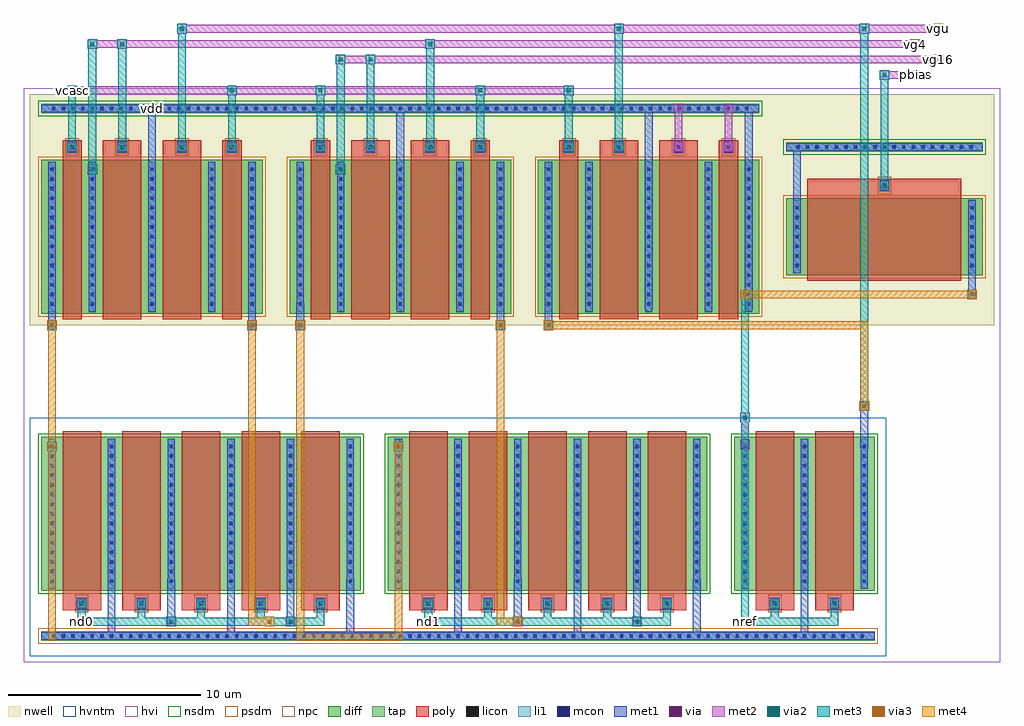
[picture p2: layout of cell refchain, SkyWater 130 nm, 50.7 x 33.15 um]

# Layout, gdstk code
import gdstk
lib = gdstk.Library(unit=1e-6, precision=1e-09)
def R(c, l, rs):  # rectangles x0, y0, x1, y1
    for r in rs: c.add(gdstk.rectangle(r[:2], r[2:], *l))
def A(c, l, x, y, w, h, nx, ny, dx, dy):  # array of equal rectangles
    R(c, l, [(x+i*dx, y+j*dy, x+i*dx+w, y+j*dy+h) for i in range(nx) for j in range(ny)])
nwell = (64, 20)
diff = (65, 20)
tap = (65, 44)
poly = (66, 20)
licon = (66, 44)
li1 = (67, 20)
mcon = (67, 44)
met1 = (68, 20)
via = (68, 44)
met2 = (69, 20)
via2 = (69, 44)
met3 = (70, 20)
via3 = (70, 44)
met4 = (71, 20)
hvi = (75, 20)
nsdm = (93, 44)
psdm = (94, 20)
npc = (95, 20)
hvntm = (125, 20)

refchain = lib.new_cell('refchain')
R(refchain, nwell, [(0.4,2.4,50.5,14.4)])
A(refchain, diff, 1, 3, 11.5, 8, 3, 1, 12.9, 0)
R(refchain, diff, [(1,-11.4,17.6,-3.4), (19,-11.4,35.6,-3.4), (37,-11.4,44.3,-3.4), (39.7,5,49.9,9)])
R(refchain, tap, [(1,-14,44.3,-13.5), (39.7,11.4,49.9,11.9), (1,13.4,38.3,13.9)])
A(refchain, poly, 2.1, -12.4, 2, 0.7, 5, 1, 3.1, 0)
A(refchain, poly, 20.1, -12.4, 2, 0.7, 5, 1, 3.1, 0)
A(refchain, poly, 2.1, -11.7, 2, 8.6, 5, 1, 3.1, 0)
A(refchain, poly, 20.1, -11.7, 2, 8.6, 5, 1, 3.1, 0)
R(refchain, poly, [(38.1,-12.4,40.1,-11.7), (41.2,-12.4,43.2,-11.7), (38.1,-11.7,40.1,-3.1), (41.2,-11.7,43.2,-3.1), (2.1,2.7,3.1,12), (4.2,2.7,6.2,12), (7.3,2.7,9.3,12), (10.4,2.7,11.4,12), (15,2.7,16,12), (17.1,2.7,19.1,12), (20.2,2.7,22.2,12), (23.3,2.7,24.3,12), (27.9,2.7,28.9,12), (30,2.7,32,12), (33.1,2.7,35.1,12), (36.2,2.7,37.2,12), (40.8,4.7,48.8,10)])
A(refchain, licon, 1.565, -13.835, 0.17, 0.17, 85, 1, 0.5, 0)
A(refchain, licon, 3.015, -12.135, 0.17, 0.17, 5, 1, 3.1, 0)
A(refchain, licon, 21.015, -12.135, 0.17, 0.17, 5, 1, 3.1, 0)
A(refchain, licon, 1.465, -10.985, 0.17, 0.17, 6, 15, 3.1, 0.5)
A(refchain, licon, 19.465, -10.985, 0.17, 0.17, 6, 15, 3.1, 0.5)
A(refchain, licon, 37.465, -10.985, 0.17, 0.17, 3, 15, 3.1, 0.5)
A(refchain, licon, 1.465, 3.415, 0.17, 0.17, 1, 15, 0, 0.5)
A(refchain, licon, 3.565, 3.415, 0.17, 0.17, 3, 15, 3.1, 0.5)
A(refchain, licon, 11.865, 3.415, 0.17, 0.17, 1, 15, 0, 0.5)
A(refchain, licon, 14.365, 3.415, 0.17, 0.17, 1, 15, 0, 0.5)
A(refchain, licon, 16.465, 3.415, 0.17, 0.17, 3, 15, 3.1, 0.5)
A(refchain, licon, 24.765, 3.415, 0.17, 0.17, 1, 15, 0, 0.5)
A(refchain, licon, 27.265, 3.415, 0.17, 0.17, 1, 15, 0, 0.5)
A(refchain, licon, 29.365, 3.415, 0.17, 0.17, 3, 15, 3.1, 0.5)
A(refchain, licon, 37.665, 3.415, 0.17, 0.17, 1, 15, 0, 0.5)
A(refchain, licon, 40.165, 5.415, 0.17, 0.17, 1, 7, 0, 0.5)
A(refchain, licon, 49.265, 5.415, 0.17, 0.17, 1, 7, 0, 0.5)
A(refchain, licon, 40.215, 11.565, 0.17, 0.17, 19, 1, 0.5, 0)
A(refchain, licon, 1.565, 13.565, 0.17, 0.17, 73, 1, 0.5, 0)
R(refchain, licon, [(39.015,-12.135,39.185,-11.965), (42.115,-12.135,42.285,-11.965), (44.715,9.565,44.885,9.735), (2.515,11.565,2.685,11.735), (5.115,11.565,5.285,11.735), (8.215,11.565,8.385,11.735), (10.815,11.565,10.985,11.735), (15.415,11.565,15.585,11.735), (18.015,11.565,18.185,11.735), (21.115,11.565,21.285,11.735), (23.715,11.565,23.885,11.735), (28.315,11.565,28.485,11.735), (30.915,11.565,31.085,11.735), (34.015,11.565,34.185,11.735), (36.615,11.565,36.785,11.735)])
A(refchain, li1, 2.85, -12.35, 0.5, 0.6, 5, 1, 3.1, 0)
A(refchain, li1, 20.85, -12.35, 0.5, 0.6, 5, 1, 3.1, 0)
A(refchain, li1, 1.36, -11.3, 0.38, 7.8, 6, 1, 3.1, 0)
A(refchain, li1, 19.36, -11.3, 0.38, 7.8, 6, 1, 3.1, 0)
A(refchain, li1, 37.36, -11.3, 0.38, 7.8, 3, 1, 3.1, 0)
A(refchain, li1, 3.46, 3.1, 0.38, 7.8, 3, 1, 3.1, 0)
A(refchain, li1, 16.36, 3.1, 0.38, 7.8, 3, 1, 3.1, 0)
A(refchain, li1, 29.26, 3.1, 0.38, 7.8, 3, 1, 3.1, 0)
R(refchain, li1, [(1,-13.95,44.3,-13.55), (38.85,-12.35,39.35,-11.75), (41.95,-12.35,42.45,-11.75), (1.36,3.1,1.74,10.9), (11.76,3.1,12.14,10.9), (14.26,3.1,14.64,10.9), (24.66,3.1,25.04,10.9), (27.16,3.1,27.54,10.9), (37.56,3.1,37.94,10.9), (40.06,5.1,40.44,8.9), (49.16,5.1,49.54,8.9), (44.55,9.35,45.05,9.95), (2.35,11.35,2.85,11.95), (4.95,11.35,5.45,11.95), (8.05,11.35,8.55,11.95), (10.65,11.35,11.15,11.95), (15.25,11.35,15.75,11.95), (17.85,11.35,18.35,11.95), (20.95,11.35,21.45,11.95), (23.55,11.35,24.05,11.95), (28.15,11.35,28.65,11.95), (30.75,11.35,31.25,11.95), (33.85,11.35,34.35,11.95), (36.45,11.35,36.95,11.95), (39.7,11.45,49.9,11.85), (1,13.45,38.3,13.85)])
A(refchain, mcon, 1.565, -13.835, 0.17, 0.17, 85, 1, 0.5, 0)
A(refchain, mcon, 3.015, -12.135, 0.17, 0.17, 5, 1, 3.1, 0)
A(refchain, mcon, 21.015, -12.135, 0.17, 0.17, 5, 1, 3.1, 0)
A(refchain, mcon, 1.465, -10.985, 0.17, 0.17, 6, 15, 3.1, 0.5)
A(refchain, mcon, 19.465, -10.985, 0.17, 0.17, 6, 15, 3.1, 0.5)
A(refchain, mcon, 37.465, -10.985, 0.17, 0.17, 3, 15, 3.1, 0.5)
A(refchain, mcon, 1.465, 3.415, 0.17, 0.17, 1, 15, 0, 0.5)
A(refchain, mcon, 3.565, 3.415, 0.17, 0.17, 3, 15, 3.1, 0.5)
A(refchain, mcon, 11.865, 3.415, 0.17, 0.17, 1, 15, 0, 0.5)
A(refchain, mcon, 14.365, 3.415, 0.17, 0.17, 1, 15, 0, 0.5)
A(refchain, mcon, 16.465, 3.415, 0.17, 0.17, 3, 15, 3.1, 0.5)
A(refchain, mcon, 24.765, 3.415, 0.17, 0.17, 1, 15, 0, 0.5)
A(refchain, mcon, 27.265, 3.415, 0.17, 0.17, 1, 15, 0, 0.5)
A(refchain, mcon, 29.365, 3.415, 0.17, 0.17, 3, 15, 3.1, 0.5)
A(refchain, mcon, 37.665, 3.415, 0.17, 0.17, 1, 15, 0, 0.5)
A(refchain, mcon, 40.165, 5.415, 0.17, 0.17, 1, 7, 0, 0.5)
A(refchain, mcon, 49.265, 5.415, 0.17, 0.17, 1, 7, 0, 0.5)
A(refchain, mcon, 40.215, 11.565, 0.17, 0.17, 19, 1, 0.5, 0)
A(refchain, mcon, 1.565, 13.565, 0.17, 0.17, 73, 1, 0.5, 0)
R(refchain, mcon, [(39.015,-12.135,39.185,-11.965), (42.115,-12.135,42.285,-11.965), (44.715,9.565,44.885,9.735), (2.515,11.565,2.685,11.735), (5.115,11.565,5.285,11.735), (8.215,11.565,8.385,11.735), (10.815,11.565,10.985,11.735), (15.415,11.565,15.585,11.735), (18.015,11.565,18.185,11.735), (21.115,11.565,21.285,11.735), (23.715,11.565,23.885,11.735), (28.315,11.565,28.485,11.735), (30.915,11.565,31.085,11.735), (34.015,11.565,34.185,11.735), (36.615,11.565,36.785,11.735)])
A(refchain, met1, 4.45, -13.95, 0.4, 3.15, 3, 1, 6.2, 0)
A(refchain, met1, 22.45, -13.95, 0.4, 3.15, 3, 1, 6.2, 0)
A(refchain, met1, 2.85, -12.35, 0.5, 0.6, 5, 1, 3.1, 0)
A(refchain, met1, 20.85, -12.35, 0.5, 0.6, 5, 1, 3.1, 0)
A(refchain, met1, 2.91, -12.24, 0.38, 0.38, 5, 1, 3.1, 0)
A(refchain, met1, 20.91, -12.24, 0.38, 0.38, 5, 1, 3.1, 0)
A(refchain, met1, 1.36, -11.3, 0.38, 7.8, 6, 1, 3.1, 0)
A(refchain, met1, 19.36, -11.3, 0.38, 7.8, 6, 1, 3.1, 0)
A(refchain, met1, 37.36, -11.3, 0.38, 7.8, 3, 1, 3.1, 0)
A(refchain, met1, 3.46, 3.1, 0.38, 7.8, 3, 1, 3.1, 0)
A(refchain, met1, 16.36, 3.1, 0.38, 7.8, 3, 1, 3.1, 0)
A(refchain, met1, 29.26, 3.1, 0.38, 7.8, 3, 1, 3.1, 0)
A(refchain, met1, 6.55, 3.2, 0.4, 10.4, 3, 1, 12.9, 0)
R(refchain, met1, [(1,-13.95,44.3,-13.55), (40.45,-13.95,40.85,-10.8), (7.55,-13.2,7.95,-10.8), (13.75,-13.2,14.15,-10.8), (25.55,-13.2,25.95,-10.8), (31.75,-13.2,32.15,-10.8), (7.56,-13.19,7.94,-12.81), (13.76,-13.19,14.14,-12.81), (25.56,-13.19,25.94,-12.81), (31.76,-13.19,32.14,-12.81), (38.85,-12.35,39.35,-11.75), (41.95,-12.35,42.45,-11.75), (38.91,-12.24,39.29,-11.86), (42.01,-12.24,42.39,-11.86), (1.36,-4.09,1.74,-3.71), (19.36,-4.09,19.74,-3.71), (43.55,-4,43.95,-1.6), (37.36,-3.99,37.74,-3.61), (43.56,-1.99,43.94,-1.61), (1.35,2.2,1.75,3.6), (11.75,2.2,12.15,3.6), (14.25,2.2,14.65,3.6), (24.65,2.2,25.05,3.6), (27.15,2.2,27.55,3.6), (1.36,2.21,1.74,2.59), (11.76,2.21,12.14,2.59), (14.26,2.21,14.64,2.59), (24.66,2.21,25.04,2.59), (27.16,2.21,27.54,2.59), (1.36,3.1,1.74,10.9), (11.76,3.1,12.14,10.9), (14.26,3.1,14.64,10.9), (24.66,3.1,25.04,10.9), (27.16,3.1,27.54,10.9), (37.56,3.1,37.94,10.9), (37.55,3.2,37.95,13.6), (49.15,3.8,49.55,5.6), (49.16,3.81,49.54,4.19), (40.06,5.1,40.44,8.9), (49.16,5.1,49.54,8.9), (40.05,5.2,40.45,11.85), (44.55,9.35,45.05,9.95), (44.61,9.46,44.99,9.84), (3.46,10.31,3.84,10.69), (16.36,10.31,16.74,10.69), (2.35,11.35,2.85,11.95), (4.95,11.35,5.45,11.95), (8.05,11.35,8.55,11.95), (10.65,11.35,11.15,11.95), (15.25,11.35,15.75,11.95), (17.85,11.35,18.35,11.95), (20.95,11.35,21.45,11.95), (23.55,11.35,24.05,11.95), (28.15,11.35,28.65,11.95), (30.75,11.35,31.25,11.95), (33.85,11.35,34.35,11.95), (36.45,11.35,36.95,11.95), (39.7,11.45,49.9,11.85), (2.41,11.46,2.79,11.84), (5.01,11.46,5.39,11.84), (8.11,11.46,8.49,11.84), (10.71,11.46,11.09,11.84), (15.31,11.46,15.69,11.84), (17.91,11.46,18.29,11.84), (21.01,11.46,21.39,11.84), (23.61,11.46,23.99,11.84), (28.21,11.46,28.59,11.84), (30.81,11.46,31.19,11.84), (33.91,11.46,34.29,11.84), (36.51,11.46,36.89,11.84), (1,13.45,38.3,13.85), (33.91,13.46,34.29,13.84), (36.51,13.46,36.89,13.84)])
A(refchain, via, 3.025, -12.125, 0.15, 0.15, 5, 1, 3.1, 0)
A(refchain, via, 21.025, -12.125, 0.15, 0.15, 5, 1, 3.1, 0)
R(refchain, via, [(7.675,-13.075,7.825,-12.925), (13.875,-13.075,14.025,-12.925), (25.675,-13.075,25.825,-12.925), (31.875,-13.075,32.025,-12.925), (39.025,-12.125,39.175,-11.975), (42.125,-12.125,42.275,-11.975), (1.475,-3.975,1.625,-3.825), (19.475,-3.975,19.625,-3.825), (37.475,-3.875,37.625,-3.725), (43.675,-1.875,43.825,-1.725), (1.475,2.325,1.625,2.475), (11.875,2.325,12.025,2.475), (14.375,2.325,14.525,2.475), (24.775,2.325,24.925,2.475), (27.275,2.325,27.425,2.475), (49.275,3.925,49.425,4.075), (44.725,9.575,44.875,9.725), (3.575,10.425,3.725,10.575), (16.475,10.425,16.625,10.575), (2.525,11.575,2.675,11.725), (5.125,11.575,5.275,11.725), (8.225,11.575,8.375,11.725), (10.825,11.575,10.975,11.725), (15.425,11.575,15.575,11.725), (18.025,11.575,18.175,11.725), (21.125,11.575,21.275,11.725), (23.725,11.575,23.875,11.725), (28.325,11.575,28.475,11.725), (30.925,11.575,31.075,11.725), (34.025,11.575,34.175,11.725), (36.625,11.575,36.775,11.725), (34.025,13.575,34.175,13.725), (36.625,13.575,36.775,13.725)])
R(refchain, met2, [(7.5,-13.25,8,-12.75), (7.5,-13.25,8,-12.75), (13.7,-13.25,14.2,-12.75), (13.7,-13.25,14.2,-12.75), (25.5,-13.25,26,-12.75), (25.5,-13.25,26,-12.75), (31.7,-13.25,32.2,-12.75), (31.7,-13.25,32.2,-12.75), (2.85,-12.3,3.35,-11.8), (2.85,-12.3,3.35,-11.8), (5.95,-12.3,6.45,-11.8), (5.95,-12.3,6.45,-11.8), (9.05,-12.3,9.55,-11.8), (9.05,-12.3,9.55,-11.8), (12.15,-12.3,12.65,-11.8), (12.15,-12.3,12.65,-11.8), (15.25,-12.3,15.75,-11.8), (15.25,-12.3,15.75,-11.8), (20.85,-12.3,21.35,-11.8), (20.85,-12.3,21.35,-11.8), (23.95,-12.3,24.45,-11.8), (23.95,-12.3,24.45,-11.8), (27.05,-12.3,27.55,-11.8), (27.05,-12.3,27.55,-11.8), (30.15,-12.3,30.65,-11.8), (30.15,-12.3,30.65,-11.8), (33.25,-12.3,33.75,-11.8), (33.25,-12.3,33.75,-11.8), (38.85,-12.3,39.35,-11.8), (38.85,-12.3,39.35,-11.8), (41.95,-12.3,42.45,-11.8), (41.95,-12.3,42.45,-11.8), (1.3,-4.15,1.8,-3.65), (1.3,-4.15,1.8,-3.65), (19.3,-4.15,19.8,-3.65), (19.3,-4.15,19.8,-3.65), (37.3,-4.05,37.8,-3.55), (37.35,-4,37.75,-2.2), (37.3,-2.65,37.8,-2.15), (43.5,-2.05,44,-1.55), (43.5,-2.05,44,-1.55), (1.3,2.15,1.8,2.65), (1.3,2.15,1.8,2.65), (11.7,2.15,12.2,2.65), (11.7,2.15,12.2,2.65), (14.2,2.15,14.7,2.65), (14.2,2.15,14.7,2.65), (24.6,2.15,25.1,2.65), (24.6,2.15,25.1,2.65), (27.1,2.15,27.6,2.65), (27.1,2.15,27.6,2.65), (49.1,3.75,49.6,4.25), (49.1,3.75,49.6,4.25), (44.55,9.4,45.05,9.9), (44.55,9.4,45.05,9.9), (3.4,10.25,3.9,10.75), (3.4,10.25,3.9,10.75), (16.3,10.25,16.8,10.75), (16.3,10.25,16.8,10.75), (2.35,11.4,2.85,11.9), (2.35,11.4,2.85,11.9), (4.95,11.4,5.45,11.9), (4.95,11.4,5.45,11.9), (8.05,11.4,8.55,11.9), (8.05,11.4,8.55,11.9), (10.65,11.4,11.15,11.9), (10.65,11.4,11.15,11.9), (15.25,11.4,15.75,11.9), (15.25,11.4,15.75,11.9), (17.85,11.4,18.35,11.9), (17.85,11.4,18.35,11.9), (20.95,11.4,21.45,11.9), (20.95,11.4,21.45,11.9), (23.55,11.4,24.05,11.9), (23.55,11.4,24.05,11.9), (28.15,11.4,28.65,11.9), (28.15,11.4,28.65,11.9), (30.75,11.4,31.25,11.9), (30.75,11.4,31.25,11.9), (33.85,11.4,34.35,11.9), (36.45,11.4,36.95,11.9), (33.9,11.45,34.3,13.85), (36.5,11.45,36.9,13.85), (33.85,13.4,34.35,13.9), (36.45,13.4,36.95,13.9), (2.35,14.35,2.85,14.85), (10.65,14.35,11.15,14.85), (15.25,14.35,15.75,14.85), (23.55,14.35,24.05,14.85), (28.15,14.35,28.65,14.85), (2.4,14.4,28.6,14.8), (44.55,15.15,45.05,15.65), (46.15,15.15,46.65,15.65), (44.6,15.2,46.6,15.6), (16.3,15.95,16.8,16.45), (17.85,15.95,18.35,16.45), (47.35,15.95,47.85,16.45), (16.35,16,18.3,16.4), (17.9,16,47.8,16.4), (3.4,16.75,3.9,17.25), (4.95,16.75,5.45,17.25), (20.95,16.75,21.45,17.25), (46.15,16.75,46.65,17.25), (3.45,16.8,21.4,17.2), (5,16.8,46.6,17.2), (8.05,17.55,8.55,18.05), (30.75,17.55,31.25,18.05), (43.5,17.55,44,18.05), (47.35,17.55,47.85,18.05), (8.1,17.6,43.95,18), (8.1,17.6,47.8,18)])
A(refchain, via2, 3, -12.15, 0.2, 0.2, 5, 1, 3.1, 0)
A(refchain, via2, 21, -12.15, 0.2, 0.2, 5, 1, 3.1, 0)
R(refchain, via2, [(7.65,-13.1,7.85,-12.9), (13.85,-13.1,14.05,-12.9), (25.65,-13.1,25.85,-12.9), (31.85,-13.1,32.05,-12.9), (39,-12.15,39.2,-11.95), (42.1,-12.15,42.3,-11.95), (1.45,-4,1.65,-3.8), (19.45,-4,19.65,-3.8), (37.45,-2.5,37.65,-2.3), (43.65,-1.9,43.85,-1.7), (1.45,2.3,1.65,2.5), (11.85,2.3,12.05,2.5), (14.35,2.3,14.55,2.5), (24.75,2.3,24.95,2.5), (27.25,2.3,27.45,2.5), (49.25,3.9,49.45,4.1), (44.7,9.55,44.9,9.75), (3.55,10.4,3.75,10.6), (16.45,10.4,16.65,10.6), (2.5,11.55,2.7,11.75), (5.1,11.55,5.3,11.75), (8.2,11.55,8.4,11.75), (10.8,11.55,11,11.75), (15.4,11.55,15.6,11.75), (18,11.55,18.2,11.75), (21.1,11.55,21.3,11.75), (23.7,11.55,23.9,11.75), (28.3,11.55,28.5,11.75), (30.9,11.55,31.1,11.75), (2.5,14.5,2.7,14.7), (10.8,14.5,11,14.7), (15.4,14.5,15.6,14.7), (23.7,14.5,23.9,14.7), (28.3,14.5,28.5,14.7), (44.7,15.3,44.9,15.5), (46.3,15.3,46.5,15.5), (16.45,16.1,16.65,16.3), (18,16.1,18.2,16.3), (47.5,16.1,47.7,16.3), (3.55,16.9,3.75,17.1), (5.1,16.9,5.3,17.1), (21.1,16.9,21.3,17.1), (46.3,16.9,46.5,17.1), (8.2,17.7,8.4,17.9), (30.9,17.7,31.1,17.9), (43.65,17.7,43.85,17.9), (47.5,17.7,47.7,17.9)])
A(refchain, met3, 2.9, -13.2, 0.4, 1.35, 5, 1, 3.1, 0)
A(refchain, met3, 20.9, -13.2, 0.4, 1.35, 5, 1, 3.1, 0)
A(refchain, met3, 2.85, -12.3, 0.5, 0.5, 5, 1, 3.1, 0)
A(refchain, met3, 20.85, -12.3, 0.5, 0.5, 5, 1, 3.1, 0)
R(refchain, met3, [(7.5,-13.25,8,-12.75), (12.6,-13.25,13.1,-12.75), (13.7,-13.25,14.2,-12.75), (25.5,-13.25,26,-12.75), (25.5,-13.25,26,-12.75), (31.7,-13.25,32.2,-12.75), (2.9,-13.2,15.7,-12.8), (2.9,-13.2,15.7,-12.8), (20.9,-13.2,33.7,-12.8), (20.9,-13.2,33.7,-12.8), (37.35,-13.2,37.75,-2.2), (37.35,-13.2,42.4,-12.8), (38.9,-13.2,39.3,-11.85), (42,-13.2,42.4,-11.85), (38.85,-12.3,39.35,-11.8), (41.95,-12.3,42.45,-11.8), (1.3,-4.15,1.8,-3.65), (1.3,-4.15,1.8,-3.65), (19.3,-4.15,19.8,-3.65), (19.3,-4.15,19.8,-3.65), (37.3,-2.65,37.8,-2.15), (37.35,-2.6,37.75,4.2), (43.5,-2.05,44,-1.55), (43.5,-2.05,44,-1.55), (43.55,-2,43.95,18), (1.3,2.15,1.8,2.65), (1.3,2.15,1.8,2.65), (11.7,2.15,12.2,2.65), (11.7,2.15,12.2,2.65), (14.2,2.15,14.7,2.65), (14.2,2.15,14.7,2.65), (24.6,2.15,25.1,2.65), (24.6,2.15,25.1,2.65), (27.1,2.15,27.6,2.65), (27.1,2.15,27.6,2.65), (37.3,3.75,37.8,4.25), (49.1,3.75,49.6,4.25), (49.1,3.75,49.6,4.25), (44.55,9.4,45.05,9.9), (44.6,9.45,45,15.6), (3.4,10.25,3.9,10.75), (16.3,10.25,16.8,10.75), (3.45,10.3,3.85,17.2), (16.35,10.3,16.75,16.4), (2.35,11.4,2.85,11.9), (4.95,11.4,5.45,11.9), (8.05,11.4,8.55,11.9), (10.65,11.4,11.15,11.9), (15.25,11.4,15.75,11.9), (17.85,11.4,18.35,11.9), (20.95,11.4,21.45,11.9), (23.55,11.4,24.05,11.9), (28.15,11.4,28.65,11.9), (30.75,11.4,31.25,11.9), (2.4,11.45,2.8,14.8), (5,11.45,5.4,17.2), (8.1,11.45,8.5,18), (10.7,11.45,11.1,14.8), (15.3,11.45,15.7,14.8), (17.9,11.45,18.3,16.4), (21,11.45,21.4,17.2), (23.6,11.45,24,14.8), (28.2,11.45,28.6,14.8), (30.8,11.45,31.2,18), (2.35,14.35,2.85,14.85), (10.65,14.35,11.15,14.85), (15.25,14.35,15.75,14.85), (23.55,14.35,24.05,14.85), (28.15,14.35,28.65,14.85), (44.55,15.15,45.05,15.65), (46.15,15.15,46.65,15.65), (46.15,15.15,46.65,15.65), (16.3,15.95,16.8,16.45), (17.85,15.95,18.35,16.45), (47.35,15.95,47.85,16.45), (47.35,15.95,47.85,16.45), (3.4,16.75,3.9,17.25), (4.95,16.75,5.45,17.25), (20.95,16.75,21.45,17.25), (46.15,16.75,46.65,17.25), (46.15,16.75,46.65,17.25), (8.05,17.55,8.55,18.05), (30.75,17.55,31.25,18.05), (43.5,17.55,44,18.05), (47.35,17.55,47.85,18.05), (47.35,17.55,47.85,18.05)])
R(refchain, via3, [(12.75,-13.1,12.95,-12.9), (25.65,-13.1,25.85,-12.9), (1.45,-4,1.65,-3.8), (19.45,-4,19.65,-3.8), (43.65,-1.9,43.85,-1.7), (1.45,2.3,1.65,2.5), (11.85,2.3,12.05,2.5), (14.35,2.3,14.55,2.5), (24.75,2.3,24.95,2.5), (27.25,2.3,27.45,2.5), (37.45,3.9,37.65,4.1), (49.25,3.9,49.45,4.1), (46.3,15.3,46.5,15.5), (47.5,16.1,47.7,16.3), (46.3,16.9,46.5,17.1), (47.5,17.7,47.7,17.9)])
R(refchain, met4, [(1.35,-14,1.75,-13.6), (1.35,-14,1.75,2.6), (1.35,-14,1.75,-3.7), (14.25,-14,19.75,-13.6), (14.25,-14,14.65,2.6), (19.35,-14,19.75,-3.7), (12.6,-13.25,13.1,-12.75), (25.5,-13.25,26,-12.75), (11.75,-13.2,13.05,-12.8), (11.75,-13.2,12.15,2.6), (24.65,-13.2,25.95,-12.8), (24.65,-13.2,25.05,2.6), (1.3,-4.15,1.8,-3.65), (19.3,-4.15,19.8,-3.65), (43.5,-2.05,44,-1.55), (43.55,-2,43.95,2.6), (1.3,2.15,1.8,2.65), (11.7,2.15,12.2,2.65), (14.2,2.15,14.7,2.65), (24.6,2.15,25.1,2.65), (27.1,2.15,27.6,2.65), (27.15,2.2,43.95,2.6), (37.3,3.75,37.8,4.25), (49.1,3.75,49.6,4.25), (37.35,3.8,49.55,4.2), (46.15,15.15,46.65,15.65), (47.35,15.95,47.85,16.45), (46.15,16.75,46.65,17.25), (47.35,17.55,47.85,18.05)])
R(refchain, hvi, [(0.1,-15.1,50.8,14.7)])
R(refchain, nsdm, [(0.85,-11.55,17.75,-3.25), (18.85,-11.55,35.75,-3.25), (36.85,-11.55,44.45,-3.25), (39.55,11.25,50.05,12.05), (0.85,13.25,38.45,14.05)])
A(refchain, psdm, 0.85, 2.85, 11.8, 8.3, 3, 1, 12.9, 0)
R(refchain, psdm, [(0.85,-14.15,44.45,-13.35), (39.55,4.85,50.05,9.15)])
A(refchain, npc, 2.75, -12.5, 0.7, 0.9, 5, 1, 3.1, 0)
A(refchain, npc, 20.75, -12.5, 0.7, 0.9, 5, 1, 3.1, 0)
R(refchain, npc, [(38.75,-12.5,39.45,-11.6), (41.85,-12.5,42.55,-11.6), (44.45,9.2,45.15,10.1), (2.25,11.2,2.95,12.1), (4.85,11.2,5.55,12.1), (7.95,11.2,8.65,12.1), (10.55,11.2,11.25,12.1), (15.15,11.2,15.85,12.1), (17.75,11.2,18.45,12.1), (20.85,11.2,21.55,12.1), (23.45,11.2,24.15,12.1), (28.05,11.2,28.75,12.1), (30.65,11.2,31.35,12.1), (33.75,11.2,34.45,12.1), (36.35,11.2,37.05,12.1)])
R(refchain, hvntm, [(0.4,-14.8,44.9,-2.4)])
refchain.add(gdstk.Label('vdd', (6.75,13.65), layer=68, texttype=5))
refchain.add(gdstk.Label('vgu', (47.6,17.8), layer=71, texttype=5))
refchain.add(gdstk.Label('vg4', (46.4,17), layer=71, texttype=5))
refchain.add(gdstk.Label('vg16', (47.6,16.2), layer=71, texttype=5))
refchain.add(gdstk.Label('pbias', (46.4,15.4), layer=71, texttype=5))
refchain.add(gdstk.Label('nref', (37.55,-13), layer=69, texttype=5))
refchain.add(gdstk.Label('nd1', (21.1,-13), layer=69, texttype=5))
refchain.add(gdstk.Label('nd0', (3.1,-13), layer=69, texttype=5))
refchain.add(gdstk.Label('vcasc', (2.6,14.6), layer=69, texttype=5))

lib.write_gds('refchain.gds')
